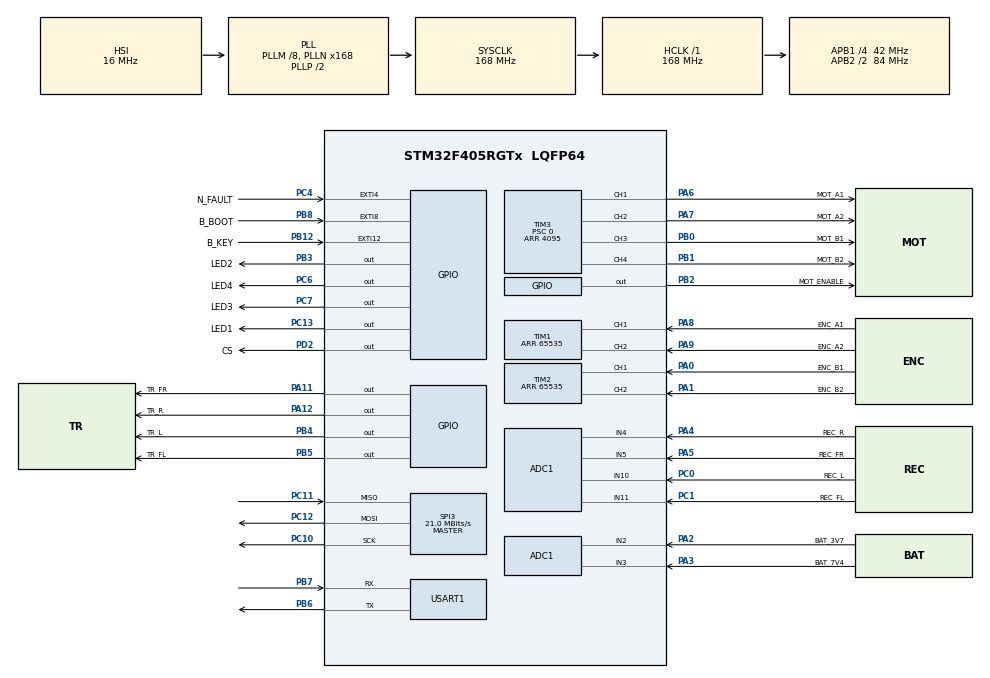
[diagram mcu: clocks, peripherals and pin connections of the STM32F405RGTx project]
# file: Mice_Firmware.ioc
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ADC1.Channel-0\#ChannelRegularConversion=ADC_CHANNEL_11
ADC1.NbrOfConversionFlag=1
ADC1.Rank-0\#ChannelRegularConversion=1
ADC1.SamplingTime-0\#ChannelRegularConversion=ADC_SAMPLETIME_3CYCLES
ADC1.master=1
Mcu.Family=STM32F4
Mcu.Name=STM32F405RGTx
Mcu.Package=LQFP64
NVIC.EXTI15_10_IRQn=true\:1\:0\:true\:false\:true\:true\:true\:true
NVIC.EXTI4_IRQn=true\:0\:0\:false\:false\:true\:true\:true\:true
NVIC.EXTI9_5_IRQn=true\:1\:0\:true\:false\:true\:true\:true\:true
NVIC.PriorityGroup=NVIC_PRIORITYGROUP_4
NVIC.USART1_IRQn=true\:3\:0\:true\:false\:true\:true\:true\:true
PA0-WKUP.GPIO_Label=ENC_B1
PA0-WKUP.Signal=S_TIM2_CH1_ETR
PA1.GPIO_Label=ENC_B2
PA1.Signal=S_TIM2_CH2
PA11.GPIO_Label=TR_FR
PA11.Signal=GPIO_Output
PA12.GPIO_Label=TR_R
PA12.Signal=GPIO_Output
PA13.Mode=Serial_Wire
PA13.Signal=SYS_JTMS-SWDIO
PA14.Mode=Serial_Wire
PA14.Signal=SYS_JTCK-SWCLK
PA2.GPIO_Label=BAT_3V7
PA2.Signal=ADCx_IN2
PA3.GPIO_Label=BAT_7V4
PA3.Signal=ADCx_IN3
PA4.GPIO_Label=REC_R
PA4.Signal=ADCx_IN4
PA5.GPIO_Label=REC_FR
PA5.Signal=ADCx_IN5
PA6.GPIO_Label=MOT_A1
PA6.Signal=S_TIM3_CH1
PA7.GPIO_Label=MOT_A2
PA7.Signal=S_TIM3_CH2
PA8.GPIO_Label=ENC_A1
PA8.Signal=S_TIM1_CH1
PA9.GPIO_Label=ENC_A2
PA9.Signal=S_TIM1_CH2
PB0.GPIO_Label=MOT_B1
PB0.Signal=S_TIM3_CH3
PB1.GPIO_Label=MOT_B2
PB1.Signal=S_TIM3_CH4
PB12.GPIO_Label=B_KEY
PB12.GPIO_ModeDefaultEXTI=GPIO_MODE_IT_RISING
PB12.Signal=GPXTI12
PB2.GPIO_Label=MOT_ENABLE
PB2.PinState=GPIO_PIN_SET
PB2.Signal=GPIO_Output
PB3.GPIO_Label=LED2
PB3.Signal=GPIO_Output
PB4.GPIO_Label=TR_L
PB4.Signal=GPIO_Output
PB5.GPIO_Label=TR_FL
PB5.Signal=GPIO_Output
PB6.Mode=Asynchronous
PB6.Signal=USART1_TX
PB7.Mode=Asynchronous
PB7.Signal=USART1_RX
PB8.GPIO_Label=B_BOOT
PB8.Signal=GPXTI8
PC0.GPIO_Label=REC_L
PC0.Signal=ADCx_IN10
PC1.GPIO_Label=REC_FL
PC1.Signal=SharedAnalog_PC1
PC10.Mode=Full_Duplex_Master
PC10.Signal=SPI3_SCK
PC11.Mode=Full_Duplex_Master
PC11.Signal=SPI3_MISO
PC12.Mode=Full_Duplex_Master
PC12.Signal=SPI3_MOSI
PC13-ANTI_TAMP.GPIO_Label=LED1
PC13-ANTI_TAMP.Signal=GPIO_Output
PC4.GPIO_Label=N_FAULT
PC4.GPIO_ModeDefaultEXTI=GPIO_MODE_IT_FALLING
PC4.GPIO_PuPd=GPIO_PULLUP
PC4.Signal=GPXTI4
PC6.GPIO_Label=LED4
PC6.Signal=GPIO_Output
PC7.GPIO_Label=LED3
PC7.Signal=GPIO_Output
PD2.GPIO_Label=CS
PD2.PinState=GPIO_PIN_SET
PD2.Signal=GPIO_Output
PH0-OSC_IN.Mode=HSE-External-Clock-Source
PH0-OSC_IN.Signal=RCC_OSC_IN
PH1-OSC_OUT.Mode=HSE-External-Clock-Source
PH1-OSC_OUT.Signal=RCC_OSC_OUT
ProjectManager.HeapSize=0x200
ProjectManager.StackSize=0x400
ProjectManager.TargetToolchain=STM32CubeIDE
RCC.48MHZClocksFreq_Value=84000000
RCC.AHBFreq_Value=168000000
RCC.APB1CLKDivider=RCC_HCLK_DIV4
RCC.APB1Freq_Value=42000000
RCC.APB1TimFreq_Value=84000000
RCC.APB2CLKDivider=RCC_HCLK_DIV2
RCC.APB2Freq_Value=84000000
RCC.APB2TimFreq_Value=168000000
RCC.CortexFreq_Value=168000000
RCC.HCLKFreq_Value=168000000
RCC.HSE_VALUE=25000000
RCC.HSI_VALUE=16000000
RCC.LSE_VALUE=32768
RCC.PLLM=8
RCC.PLLN=168
RCC.SYSCLKFreq_VALUE=168000000
RCC.SYSCLKSource=RCC_SYSCLKSOURCE_PLLCLK
RCC.VCOOutputFreq_Value=336000000
SH.ADCx_IN10.0=ADC1_IN10,IN10
SH.ADCx_IN2.0=ADC1_IN2,IN2
SH.ADCx_IN3.0=ADC1_IN3,IN3
SH.ADCx_IN4.0=ADC1_IN4,IN4
SH.ADCx_IN5.0=ADC1_IN5,IN5
SH.S_TIM1_CH1.0=TIM1_CH1,Encoder_Interface
SH.S_TIM1_CH2.0=TIM1_CH2,Encoder_Interface
SH.S_TIM2_CH1_ETR.0=TIM2_CH1,Encoder_Interface
SH.S_TIM2_CH2.0=TIM2_CH2,Encoder_Interface
SH.S_TIM3_CH1.0=TIM3_CH1,PWM Generation1 CH1
SH.S_TIM3_CH2.0=TIM3_CH2,PWM Generation2 CH2
SH.S_TIM3_CH3.0=TIM3_CH3,PWM Generation3 CH3
SH.S_TIM3_CH4.0=TIM3_CH4,PWM Generation4 CH4
SH.SharedAnalog_PC1.0=GPIO_Analog
SH.SharedAnalog_PC1.1=ADC1_IN11,IN11
SPI3.BaudRatePrescaler=SPI_BAUDRATEPRESCALER_2
SPI3.CalculateBaudRate=21.0 MBits/s
SPI3.Direction=SPI_DIRECTION_2LINES
SPI3.Mode=SPI_MODE_MASTER
SPI3.VirtualNSS=VM_NSSHARD
SPI3.VirtualType=VM_MASTER
TIM1.AutoReloadPreload=TIM_AUTORELOAD_PRELOAD_DISABLE
TIM1.CounterMode=TIM_COUNTERMODE_UP
TIM1.EncoderMode=TIM_ENCODERMODE_TI1
TIM1.Period=65535
TIM1.RepetitionCounter=127
TIM10.AutoReloadPreload=TIM_AUTORELOAD_PRELOAD_ENABLE
TIM10.Prescaler=167
TIM2.CounterMode=TIM_COUNTERMODE_UP
TIM2.EncoderMode=TIM_ENCODERMODE_TI1
TIM2.Period=65535
TIM3.AutoReloadPreload=TIM_AUTORELOAD_PRELOAD_ENABLE
TIM3.Channel-PWM\ Generation1\ CH1=TIM_CHANNEL_1
TIM3.Channel-PWM\ Generation2\ CH2=TIM_CHANNEL_2
TIM3.Channel-PWM\ Generation3\ CH3=TIM_CHANNEL_3
TIM3.Channel-PWM\ Generation4\ CH4=TIM_CHANNEL_4
TIM3.Period=4095
TIM3.Prescaler=0
USART1.VirtualMode=VM_ASYNC
VP_TIM10_VS_ClockSourceINT.Mode=Enable_Timer
VP_TIM3_VS_ClockSourceINT.Mode=Internal
board=custom

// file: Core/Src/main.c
/* USER CODE BEGIN Header */
/**
 ******************************************************************************
 * @file           : main.c
 * @brief          : Main program body
 ******************************************************************************
 * @attention
 *
 * Copyright (c) 2025 STMicroelectronics.
 * All rights reserved.
 *
 * This software is licensed under terms that can be found in the LICENSE file
 * in the root directory of this software component.
 * If no LICENSE file comes with this software, it is provided AS-IS.
 *
 ******************************************************************************
 */
/* USER CODE END Header */
#include "main.h"

/* USER CODE BEGIN Includes */

#include "core.h"

// #include "icm.h"
// #include "interface.h"
// #include "drive.h"

/* USER CODE END Includes */

ADC_HandleTypeDef hadc1;

SPI_HandleTypeDef hspi3;

TIM_HandleTypeDef htim1;
TIM_HandleTypeDef htim2;
TIM_HandleTypeDef htim3;
TIM_HandleTypeDef htim10;

UART_HandleTypeDef huart1;

/* USER CODE BEGIN PV */
uint8_t buffer[MAX_LINES][200];
uint16_t ptr[MAX_LINES];
int cur_transmitting = 0;
int cur_storing = 0;

// Redirect print to UART
uint8_t __io_putchar(char ch)
{
  buffer[cur_storing][ptr[cur_storing]++] = ch;
  if (ch == '\n')
  {
    if (huart1.gState == HAL_UART_STATE_READY){
      cur_storing+=1;
      if(cur_storing>=MAX_LINES) cur_storing=0;
      HAL_UART_TxCpltCallback(&huart1);
    }
    else{
      cur_storing+=1;
      if(cur_storing>=MAX_LINES) cur_storing=0;
    }
  }
  return ch;
}
/* USER CODE END PV */

void SystemClock_Config(void);
static void MX_GPIO_Init(void);
static void MX_TIM2_Init(void);
static void MX_TIM1_Init(void);
static void MX_SPI3_Init(void);
static void MX_ADC1_Init(void);
static void MX_USART1_UART_Init(void);
static void MX_TIM3_Init(void);
static void MX_TIM10_Init(void);

int main(void)
{

  /* MCU Configuration--------------------------------------------------------*/

  /* Reset of all peripherals, Initializes the Flash interface and the Systick. */
  HAL_Init();

  /* Configure the system clock */
  SystemClock_Config();

  /* Initialize all configured peripherals */
  MX_GPIO_Init();
  MX_TIM2_Init();
  MX_TIM1_Init();
  MX_SPI3_Init();
  MX_ADC1_Init();
  MX_USART1_UART_Init();
  MX_TIM3_Init();
  MX_TIM10_Init();
  /* USER CODE BEGIN 2 */
  HAL_TIM_Base_Start(&htim10);

  return core();

  /* USER CODE END 2 */

  /* Infinite loop */
  while (1)
  {

  }
}

void SystemClock_Config(void)
{
  RCC_OscInitTypeDef RCC_OscInitStruct = {0};
  RCC_ClkInitTypeDef RCC_ClkInitStruct = {0};

  /** Configure the main internal regulator output voltage
  */
  __HAL_RCC_PWR_CLK_ENABLE();
  __HAL_PWR_VOLTAGESCALING_CONFIG(PWR_REGULATOR_VOLTAGE_SCALE1);

  /** Initializes the RCC Oscillators according to the specified parameters
  * in the RCC_OscInitTypeDef structure.
  */
  RCC_OscInitStruct.OscillatorType = RCC_OSCILLATORTYPE_HSI;
  RCC_OscInitStruct.HSIState = RCC_HSI_ON;
  RCC_OscInitStruct.HSICalibrationValue = RCC_HSICALIBRATION_DEFAULT;
  RCC_OscInitStruct.PLL.PLLState = RCC_PLL_ON;
  RCC_OscInitStruct.PLL.PLLSource = RCC_PLLSOURCE_HSI;
  RCC_OscInitStruct.PLL.PLLM = 8;
  RCC_OscInitStruct.PLL.PLLN = 168;
  RCC_OscInitStruct.PLL.PLLP = RCC_PLLP_DIV2;
  RCC_OscInitStruct.PLL.PLLQ = 4;
  if (HAL_RCC_OscConfig(&RCC_OscInitStruct) != HAL_OK)
  {
    Error_Handler();
  }

  /** Initializes the CPU, AHB and APB buses clocks
  */
  RCC_ClkInitStruct.ClockType = RCC_CLOCKTYPE_HCLK|RCC_CLOCKTYPE_SYSCLK
                              |RCC_CLOCKTYPE_PCLK1|RCC_CLOCKTYPE_PCLK2;
  RCC_ClkInitStruct.SYSCLKSource = RCC_SYSCLKSOURCE_PLLCLK;
  RCC_ClkInitStruct.AHBCLKDivider = RCC_SYSCLK_DIV1;
  RCC_ClkInitStruct.APB1CLKDivider = RCC_HCLK_DIV4;
  RCC_ClkInitStruct.APB2CLKDivider = RCC_HCLK_DIV2;

  if (HAL_RCC_ClockConfig(&RCC_ClkInitStruct, FLASH_LATENCY_5) != HAL_OK)
  {
    Error_Handler();
  }
}

static void MX_ADC1_Init(void)
{

  ADC_ChannelConfTypeDef sConfig = {0};

  /** Configure the global features of the ADC (Clock, Resolution, Data Alignment and number of conversion)
  */
  hadc1.Instance = ADC1;
  hadc1.Init.ClockPrescaler = ADC_CLOCK_SYNC_PCLK_DIV4;
  hadc1.Init.Resolution = ADC_RESOLUTION_12B;
  hadc1.Init.ScanConvMode = DISABLE;
  hadc1.Init.ContinuousConvMode = DISABLE;
  hadc1.Init.DiscontinuousConvMode = DISABLE;
  hadc1.Init.ExternalTrigConvEdge = ADC_EXTERNALTRIGCONVEDGE_NONE;
  hadc1.Init.ExternalTrigConv = ADC_SOFTWARE_START;
  hadc1.Init.DataAlign = ADC_DATAALIGN_RIGHT;
  hadc1.Init.NbrOfConversion = 1;
  hadc1.Init.DMAContinuousRequests = DISABLE;
  hadc1.Init.EOCSelection = ADC_EOC_SINGLE_CONV;
  if (HAL_ADC_Init(&hadc1) != HAL_OK)
  {
    Error_Handler();
  }

  /** Configure for the selected ADC regular channel its corresponding rank in the sequencer and its sample time.
  */
  sConfig.Channel = ADC_CHANNEL_11;
  sConfig.Rank = 1;
  sConfig.SamplingTime = ADC_SAMPLETIME_3CYCLES;
  if (HAL_ADC_ConfigChannel(&hadc1, &sConfig) != HAL_OK)
  {
    Error_Handler();
  }

}

static void MX_SPI3_Init(void)
{

  /* SPI3 parameter configuration*/
  hspi3.Instance = SPI3;
  hspi3.Init.Mode = SPI_MODE_MASTER;
  hspi3.Init.Direction = SPI_DIRECTION_2LINES;
  hspi3.Init.DataSize = SPI_DATASIZE_8BIT;
  hspi3.Init.CLKPolarity = SPI_POLARITY_LOW;
  hspi3.Init.CLKPhase = SPI_PHASE_1EDGE;
  hspi3.Init.NSS = SPI_NSS_SOFT;
  hspi3.Init.BaudRatePrescaler = SPI_BAUDRATEPRESCALER_2;
  hspi3.Init.FirstBit = SPI_FIRSTBIT_MSB;
  hspi3.Init.TIMode = SPI_TIMODE_DISABLE;
  hspi3.Init.CRCCalculation = SPI_CRCCALCULATION_DISABLE;
  hspi3.Init.CRCPolynomial = 10;
  if (HAL_SPI_Init(&hspi3) != HAL_OK)
  {
    Error_Handler();
  }

}

static void MX_TIM1_Init(void)
{

  TIM_Encoder_InitTypeDef sConfig = {0};
  TIM_MasterConfigTypeDef sMasterConfig = {0};

  htim1.Instance = TIM1;
  htim1.Init.Prescaler = 0;
  htim1.Init.CounterMode = TIM_COUNTERMODE_UP;
  htim1.Init.Period = 65535;
  htim1.Init.ClockDivision = TIM_CLOCKDIVISION_DIV1;
  htim1.Init.RepetitionCounter = 127;
  htim1.Init.AutoReloadPreload = TIM_AUTORELOAD_PRELOAD_DISABLE;
  sConfig.EncoderMode = TIM_ENCODERMODE_TI1;
  sConfig.IC1Polarity = TIM_ICPOLARITY_RISING;
  sConfig.IC1Selection = TIM_ICSELECTION_DIRECTTI;
  sConfig.IC1Prescaler = TIM_ICPSC_DIV1;
  sConfig.IC1Filter = 0;
  sConfig.IC2Polarity = TIM_ICPOLARITY_RISING;
  sConfig.IC2Selection = TIM_ICSELECTION_DIRECTTI;
  sConfig.IC2Prescaler = TIM_ICPSC_DIV1;
  sConfig.IC2Filter = 0;
  if (HAL_TIM_Encoder_Init(&htim1, &sConfig) != HAL_OK)
  {
    Error_Handler();
  }
  sMasterConfig.MasterOutputTrigger = TIM_TRGO_RESET;
  sMasterConfig.MasterSlaveMode = TIM_MASTERSLAVEMODE_DISABLE;
  if (HAL_TIMEx_MasterConfigSynchronization(&htim1, &sMasterConfig) != HAL_OK)
  {
    Error_Handler();
  }

}

static void MX_TIM2_Init(void)
{

  TIM_Encoder_InitTypeDef sConfig = {0};
  TIM_MasterConfigTypeDef sMasterConfig = {0};

  htim2.Instance = TIM2;
  htim2.Init.Prescaler = 0;
  htim2.Init.CounterMode = TIM_COUNTERMODE_UP;
  htim2.Init.Period = 65535;
  htim2.Init.ClockDivision = TIM_CLOCKDIVISION_DIV1;
  htim2.Init.AutoReloadPreload = TIM_AUTORELOAD_PRELOAD_DISABLE;
  sConfig.EncoderMode = TIM_ENCODERMODE_TI1;
  sConfig.IC1Polarity = TIM_ICPOLARITY_RISING;
  sConfig.IC1Selection = TIM_ICSELECTION_DIRECTTI;
  sConfig.IC1Prescaler = TIM_ICPSC_DIV1;
  sConfig.IC1Filter = 0;
  sConfig.IC2Polarity = TIM_ICPOLARITY_RISING;
  sConfig.IC2Selection = TIM_ICSELECTION_DIRECTTI;
  sConfig.IC2Prescaler = TIM_ICPSC_DIV1;
  sConfig.IC2Filter = 0;
  if (HAL_TIM_Encoder_Init(&htim2, &sConfig) != HAL_OK)
  {
    Error_Handler();
  }
  sMasterConfig.MasterOutputTrigger = TIM_TRGO_RESET;
  sMasterConfig.MasterSlaveMode = TIM_MASTERSLAVEMODE_DISABLE;
  if (HAL_TIMEx_MasterConfigSynchronization(&htim2, &sMasterConfig) != HAL_OK)
  {
    Error_Handler();
  }

}

static void MX_TIM3_Init(void)
{

  TIM_ClockConfigTypeDef sClockSourceConfig = {0};
  TIM_MasterConfigTypeDef sMasterConfig = {0};
  TIM_OC_InitTypeDef sConfigOC = {0};

  htim3.Instance = TIM3;
  htim3.Init.Prescaler = 0;
  htim3.Init.CounterMode = TIM_COUNTERMODE_UP;
  htim3.Init.Period = 4095;
  htim3.Init.ClockDivision = TIM_CLOCKDIVISION_DIV1;
  htim3.Init.AutoReloadPreload = TIM_AUTORELOAD_PRELOAD_ENABLE;
  if (HAL_TIM_Base_Init(&htim3) != HAL_OK)
  {
    Error_Handler();
  }
  sClockSourceConfig.ClockSource = TIM_CLOCKSOURCE_INTERNAL;
  if (HAL_TIM_ConfigClockSource(&htim3, &sClockSourceConfig) != HAL_OK)
  {
    Error_Handler();
  }
  if (HAL_TIM_PWM_Init(&htim3) != HAL_OK)
  {
    Error_Handler();
  }
  sMasterConfig.MasterOutputTrigger = TIM_TRGO_RESET;
  sMasterConfig.MasterSlaveMode = TIM_MASTERSLAVEMODE_DISABLE;
  if (HAL_TIMEx_MasterConfigSynchronization(&htim3, &sMasterConfig) != HAL_OK)
  {
    Error_Handler();
  }
  sConfigOC.OCMode = TIM_OCMODE_PWM1;
  sConfigOC.Pulse = 0;
  sConfigOC.OCPolarity = TIM_OCPOLARITY_HIGH;
  sConfigOC.OCFastMode = TIM_OCFAST_DISABLE;
  if (HAL_TIM_PWM_ConfigChannel(&htim3, &sConfigOC, TIM_CHANNEL_1) != HAL_OK)
  {
    Error_Handler();
  }
  if (HAL_TIM_PWM_ConfigChannel(&htim3, &sConfigOC, TIM_CHANNEL_2) != HAL_OK)
  {
    Error_Handler();
  }
  if (HAL_TIM_PWM_ConfigChannel(&htim3, &sConfigOC, TIM_CHANNEL_3) != HAL_OK)
  {
    Error_Handler();
  }
  if (HAL_TIM_PWM_ConfigChannel(&htim3, &sConfigOC, TIM_CHANNEL_4) != HAL_OK)
  {
    Error_Handler();
  }
  HAL_TIM_MspPostInit(&htim3);

}

static void MX_TIM10_Init(void)
{

  htim10.Instance = TIM10;
  htim10.Init.Prescaler = 167;
  htim10.Init.CounterMode = TIM_COUNTERMODE_UP;
  htim10.Init.Period = 65535;
  htim10.Init.ClockDivision = TIM_CLOCKDIVISION_DIV1;
  htim10.Init.AutoReloadPreload = TIM_AUTORELOAD_PRELOAD_ENABLE;
  if (HAL_TIM_Base_Init(&htim10) != HAL_OK)
  {
    Error_Handler();
  }

}

static void MX_USART1_UART_Init(void)
{

  huart1.Instance = USART1;
  huart1.Init.BaudRate = 115200;
  huart1.Init.WordLength = UART_WORDLENGTH_8B;
  huart1.Init.StopBits = UART_STOPBITS_1;
  huart1.Init.Parity = UART_PARITY_NONE;
  huart1.Init.Mode = UART_MODE_TX_RX;
  huart1.Init.HwFlowCtl = UART_HWCONTROL_NONE;
  huart1.Init.OverSampling = UART_OVERSAMPLING_16;
  if (HAL_UART_Init(&huart1) != HAL_OK)
  {
    Error_Handler();
  }

}

static void MX_GPIO_Init(void)
{
  GPIO_InitTypeDef GPIO_InitStruct = {0};

  /* GPIO Ports Clock Enable */
  __HAL_RCC_GPIOC_CLK_ENABLE();
  __HAL_RCC_GPIOH_CLK_ENABLE();
  __HAL_RCC_GPIOA_CLK_ENABLE();
  __HAL_RCC_GPIOB_CLK_ENABLE();
  __HAL_RCC_GPIOD_CLK_ENABLE();

  /*Configure GPIO pin Output Level */
  HAL_GPIO_WritePin(GPIOC, LED1_Pin|LED4_Pin|LED3_Pin, GPIO_PIN_RESET);

  /*Configure GPIO pin Output Level */
  HAL_GPIO_WritePin(MOT_ENABLE_GPIO_Port, MOT_ENABLE_Pin, GPIO_PIN_SET);

  /*Configure GPIO pin Output Level */
  HAL_GPIO_WritePin(GPIOA, TR_FR_Pin|TR_R_Pin, GPIO_PIN_RESET);

  /*Configure GPIO pin Output Level */
  HAL_GPIO_WritePin(CS_GPIO_Port, CS_Pin, GPIO_PIN_SET);

  /*Configure GPIO pin Output Level */
  HAL_GPIO_WritePin(GPIOB, LED2_Pin|TR_L_Pin|TR_FL_Pin, GPIO_PIN_RESET);

  /*Configure GPIO pins : LED1_Pin LED4_Pin LED3_Pin */
  GPIO_InitStruct.Pin = LED1_Pin|LED4_Pin|LED3_Pin;
  GPIO_InitStruct.Mode = GPIO_MODE_OUTPUT_PP;
  GPIO_InitStruct.Pull = GPIO_NOPULL;
  GPIO_InitStruct.Speed = GPIO_SPEED_FREQ_LOW;
  HAL_GPIO_Init(GPIOC, &GPIO_InitStruct);

  /*Configure GPIO pin : N_FAULT_Pin */
  GPIO_InitStruct.Pin = N_FAULT_Pin;
  GPIO_InitStruct.Mode = GPIO_MODE_IT_FALLING;
  GPIO_InitStruct.Pull = GPIO_PULLUP;
  HAL_GPIO_Init(N_FAULT_GPIO_Port, &GPIO_InitStruct);

  /*Configure GPIO pins : MOT_ENABLE_Pin LED2_Pin TR_L_Pin TR_FL_Pin */
  GPIO_InitStruct.Pin = MOT_ENABLE_Pin|LED2_Pin|TR_L_Pin|TR_FL_Pin;
  GPIO_InitStruct.Mode = GPIO_MODE_OUTPUT_PP;
  GPIO_InitStruct.Pull = GPIO_NOPULL;
  GPIO_InitStruct.Speed = GPIO_SPEED_FREQ_LOW;
  HAL_GPIO_Init(GPIOB, &GPIO_InitStruct);

  /*Configure GPIO pins : B_KEY_Pin B_BOOT_Pin */
  GPIO_InitStruct.Pin = B_KEY_Pin|B_BOOT_Pin;
  GPIO_InitStruct.Mode = GPIO_MODE_IT_RISING;
  GPIO_InitStruct.Pull = GPIO_NOPULL;
  HAL_GPIO_Init(GPIOB, &GPIO_InitStruct);

  /*Configure GPIO pins : TR_FR_Pin TR_R_Pin */
  GPIO_InitStruct.Pin = TR_FR_Pin|TR_R_Pin;
  GPIO_InitStruct.Mode = GPIO_MODE_OUTPUT_PP;
  GPIO_InitStruct.Pull = GPIO_NOPULL;
  GPIO_InitStruct.Speed = GPIO_SPEED_FREQ_LOW;
  HAL_GPIO_Init(GPIOA, &GPIO_InitStruct);

  /*Configure GPIO pin : CS_Pin */
  GPIO_InitStruct.Pin = CS_Pin;
  GPIO_InitStruct.Mode = GPIO_MODE_OUTPUT_PP;
  GPIO_InitStruct.Pull = GPIO_NOPULL;
  GPIO_InitStruct.Speed = GPIO_SPEED_FREQ_LOW;
  HAL_GPIO_Init(CS_GPIO_Port, &GPIO_InitStruct);

  /* EXTI interrupt init*/
  HAL_NVIC_SetPriority(EXTI4_IRQn, 0, 0);
  HAL_NVIC_EnableIRQ(EXTI4_IRQn);

  HAL_NVIC_SetPriority(EXTI9_5_IRQn, 1, 0);
  HAL_NVIC_EnableIRQ(EXTI9_5_IRQn);

  HAL_NVIC_SetPriority(EXTI15_10_IRQn, 1, 0);
  HAL_NVIC_EnableIRQ(EXTI15_10_IRQn);

}

void Error_Handler(void)
{
  __disable_irq();
  while (1)
  {
  }
}
